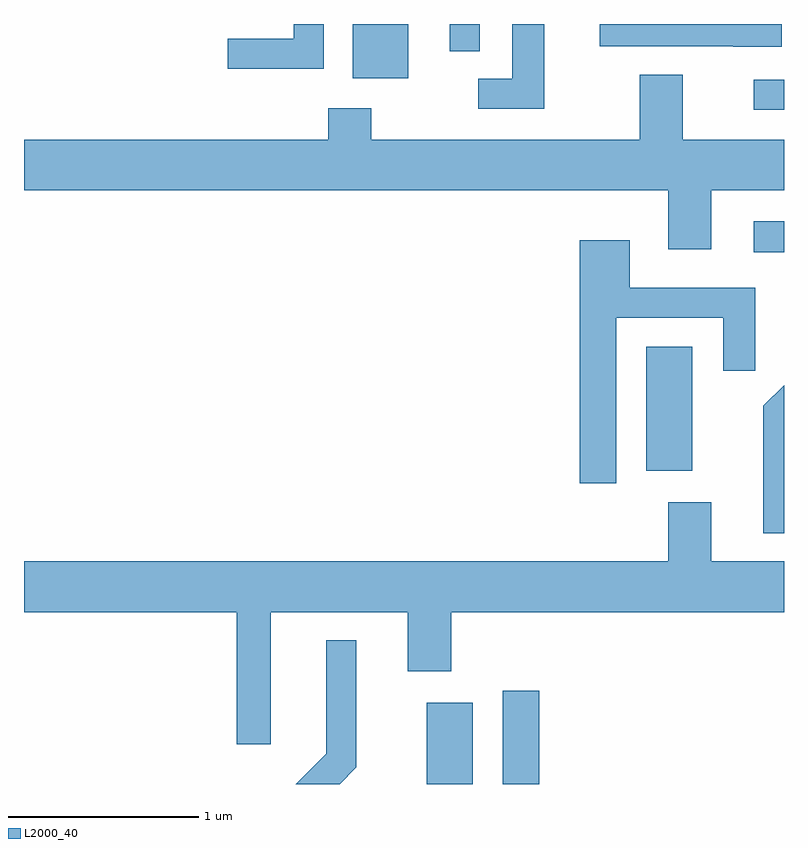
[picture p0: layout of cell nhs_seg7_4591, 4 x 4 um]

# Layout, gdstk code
import gdstk
lib = gdstk.Library(unit=1e-6, precision=1e-09)
def R(c, l, rs):  # rectangles x0, y0, x1, y1
    for r in rs: c.add(gdstk.rectangle(r[:2], r[2:], *l))
def P(c, l, *ps):  # polygons
    for p in ps: c.add(gdstk.Polygon(p, *l))
L2000_40 = (2000, 40)

nhs_seg7_4591 = lib.new_cell('nhs_seg7_4591')
R(nhs_seg7_4591, L2000_40, [(327.731,1762.252,327.974,1762.679), (328.131,1762.252,328.324,1762.744), (328.886,1763.901,329.129,1764.554), (329.453,1765.051,329.611,1765.214), (329.453,1765.801,329.611,1765.959), (327.341,1765.966,327.634,1766.252), (327.851,1766.108,328.009,1766.252)])
P(nhs_seg7_4591, L2000_40, [(328.349,1766.252),(328.181,1766.252),(328.181,1765.964),(328.003,1765.964),(328.003,1765.806),(328.349,1765.806)],
  [(327.189,1766.252),(327.031,1766.252),(327.031,1766.174),(326.683,1766.174),(326.683,1766.016),(327.189,1766.016)],
  [(329.599,1766.252),(328.641,1766.252),(328.641,1766.136),(329.345,1766.136),(329.345,1766.131),(329.599,1766.131)],
  [(329.229,1765.376),(329.611,1765.376),(329.611,1765.644),(329.079,1765.644),(329.079,1765.984),(328.851,1765.984),(328.851,1765.644),(327.439,1765.644),(327.439,1765.809),(327.211,1765.809),(327.211,1765.644),(325.611,1765.644),(325.611,1765.376),(329.001,1765.376),(329.001,1765.066),(329.229,1765.066)],
  [(328.729,1764.706),(329.291,1764.706),(329.291,1764.428),(329.459,1764.428),(329.459,1764.864),(328.799,1764.864),(328.799,1765.114),(328.536,1765.114),(328.536,1763.836),(328.729,1763.836)],
  [(329.611,1764.352),(329.501,1764.242),(329.501,1763.573),(329.611,1763.573)],
  [(326.909,1763.156),(327.631,1763.156),(327.631,1762.846),(327.859,1762.846),(327.859,1763.156),(329.611,1763.156),(329.611,1763.424),(329.229,1763.424),(329.229,1763.734),(329.001,1763.734),(329.001,1763.424),(325.611,1763.424),(325.611,1763.156),(326.731,1763.156),(326.731,1762.461),(326.909,1762.461)],
  [(327.359,1762.339),(327.359,1763.008),(327.201,1763.008),(327.201,1762.412),(327.041,1762.252),(327.272,1762.252)])

lib.write_gds('nhs_seg7_4591.gds')
